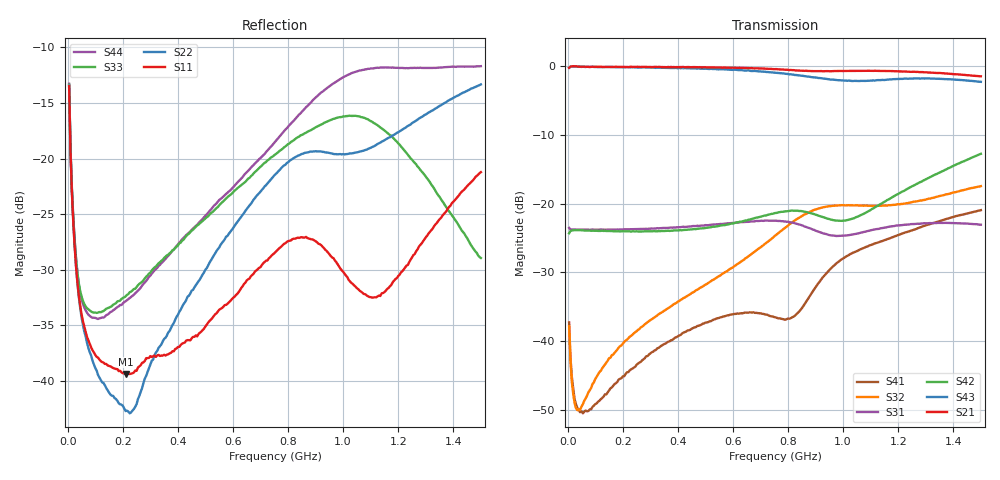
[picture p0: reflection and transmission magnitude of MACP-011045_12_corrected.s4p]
!Agilent Technologies,E5071B,JP1KK00267,A.09.10
!Date: Fri Sep 22 11:05:48 2017
!Data & Calibration Information:
!Freq	S11:SOLT4(ON)	S12:SOLT4(ON)	S13:SOLT4(ON)	S14:SOLT4(ON)
!	S21:SOLT4(ON)	S22:SOLT4(ON)	S23:SOLT4(ON)	S24:SOLT4(ON)
!	S31:SOLT4(ON)	S32:SOLT4(ON)	S33:SOLT4(ON)	S34:SOLT4(ON)
!	S41:SOLT4(ON)	S42:SOLT4(ON)	S43:SOLT4(ON)	S44:SOLT4(ON)
! "David Morgan-soldered to Test PCB SM1, calibration OSLT PCB 1000029771 Edge launch SMA connectors, port 1-pin1,port 2-pin6,port 3-pin4, port 4-pin3 ENA E5071B"
! Created with skrf 1.8.0 (http://scikit-rf.org).
# Hz S RI R 50.0
!freq ReS11 ImS11 ReS12 ImS12 ReS13 ImS13
! ReS14 ImS14
! ReS21 ImS21 ReS22 ImS22 ReS23 ImS23
! ReS24 ImS24
! ReS31 ImS31 ReS32 ImS32 ReS33 ImS33
! ReS34 ImS34
! ReS41 ImS41 ReS42 ImS42 ReS43 ImS43
! ReS44 ImS44
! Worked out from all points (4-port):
!   300 points, 5 MHz to 1.5 GHz, reference 50 ohm
!   strongest paths, dB at 5 MHz, 380 MHz, 755 MHz, 1.13 GHz, 1.5 GHz:
!     S21: -0.2, -0.2, -0.4, -0.7, -1.5
!     S43: -0.2, -0.3, -1.0, -2.0, -2.3
!     S42: -24.3, -24.0, -21.4, -20.2, -12.8
!     S31: -23.5, -23.5, -22.5, -23.7, -23.1
!     S32: -37.8, -34.8, -24.6, -20.3, -17.5
!     S41: -37.3, -39.8, -36.6, -25.6, -21.0
!   lowest |S11| = -39.4 dB at 210 MHz (marker M1), VSWR 1.02, Z = 49.2 + j0.719 ohm
!   |S11| at or under -10 dB: start of sweep to end of sweep
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5000000  -0.0481 0.2063  0.9509 0.2034  -0.0665 -0.0011  -0.00752 0.0114
         0.9511 0.2036  -0.0443 0.2086  -0.00407 0.0123  0.0553 0.0256
         -0.0665 -0.00115  -0.00407 0.0122  -0.0479 0.2093  0.9507 0.2047
         -0.00754 0.0114  0.0552 0.0255  0.9508 0.2057  -0.0471 0.2116
2e7  -0.00467 0.0519  0.9933 0.0401  -0.0642 0.00243  -0.00231 0.00369
     0.9984 0.0394  -0.000269 0.0527  0.00104 0.00402  0.0636 0.00752
     -0.0646 0.00251  0.0011 0.00394  -0.00351 0.0541  0.9943 0.0371
     -0.00236 0.00381  0.0635 0.00756  0.9916 0.0365  -0.00153 0.0547
5e7  -0.00709 0.0188  0.99 -0.0106  -0.0642 0.00708  -0.00205 0.00221
     0.9898 -0.00882  -0.00284 0.0192  0.000891 0.00334  0.0639 0.00388
     -0.0643 0.007  0.000823 0.00323  -0.00584 0.0233  0.9905 -0.0197
     -0.00205 0.0023  0.0638 0.00401  0.9865 -0.0196  -0.00377 0.0232
2.1e8  -0.00789 0.0073  0.9802 -0.1064  -0.058 0.0291  -0.00231 0.00522
       0.9794 -0.1035  0.00244 0.00692  0.00157 0.00987  0.0622 0.00802
       -0.0579 0.029  0.00161 0.00993  0.00369 0.0237  0.9705 -0.1437
       -0.00242 0.00521  0.0622 0.00801  0.9714 -0.1437  0.00457 0.0224
8.15e8  -0.000579 0.0434  0.8423 -0.403  0.0267 0.0675  0.00141 0.0146
        0.8448 -0.4012  0.0678 -0.0727  0.022 0.0694  0.079 0.0406
        0.0269 0.0675  0.0226 0.0695  0.118 -0.0205  0.7205 -0.4856
        0.00127 0.0148  0.0792 0.0406  0.7201 -0.484  0.1448 0.0167
1.02e9  0.0176 0.0224  0.8002 -0.4602  0.0362 0.0466  0.00847 0.0408
        0.7991 -0.4582  0.0398 -0.0974  0.0774 0.0585  0.0586 0.0489
        0.0362 0.0464  0.0779 0.0582  0.0934 -0.1246  0.6242 -0.4726
        0.00817 0.0413  0.0582 0.0491  0.6255 -0.4747  0.2138 -0.106
1.5e9  0.0389 0.0777  0.5886 -0.5967  0.0623 -0.0326  0.0887 0.00202
       0.5909 -0.6012  0.0261 -0.2137  0.1339 0.0106  0.158 0.1669
       0.0618 -0.0332  0.1335 0.00989  -0.00382 -0.0355  0.4671 -0.6093
       0.0895 0.00289  0.1578 0.1674  0.469 -0.6089  0.062 -0.2526
